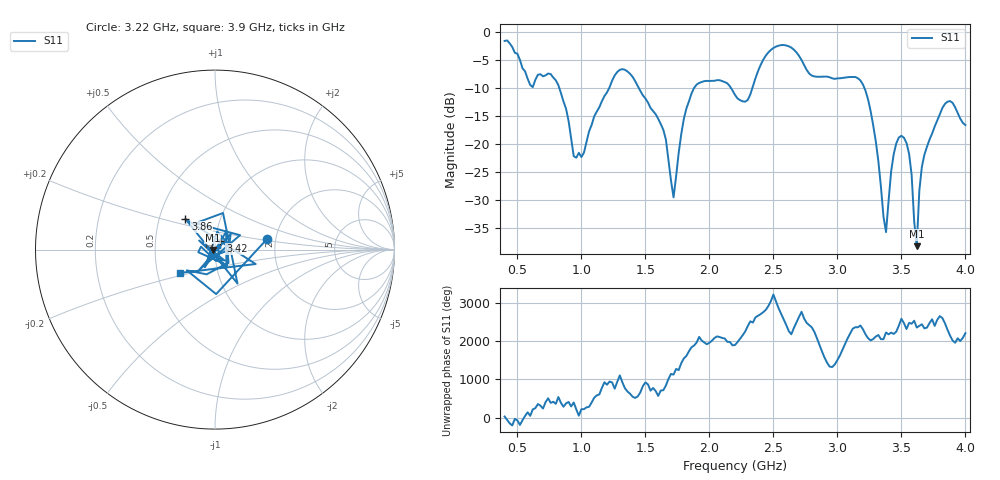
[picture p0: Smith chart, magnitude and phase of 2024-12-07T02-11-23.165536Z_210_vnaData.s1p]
!Created with skrf (http://scikit-rf.org).
# Hz S RI R 50.0
!freq ReS11 ImS11
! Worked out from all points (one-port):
!   181 points, 400 MHz to 4 GHz, reference 50 ohm
!   lowest |S11| = -38.3 dB at 3.62 GHz (marker M1), VSWR 1.02, Z = 48.8 - j0.204 ohm
!   |S11| at or under -10 dB: 826.7 MHz to 1.218 GHz (391.2 MHz wide, 38.3 % of centre); 1.447 GHz to 1.881 GHz (433.7 MHz wide, 26.1 % of centre); 3.21 GHz to end of sweep (the widest 3 of 4)
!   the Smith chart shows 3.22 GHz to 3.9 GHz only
!   S11 on the Smith chart (normalised r, x): 3.22 GHz: 1.80, +0.24; 3.42 GHz: 1.06, +0.10; 3.86 GHz: 0.68, +0.25; 3.9 GHz: 0.66, -0.18
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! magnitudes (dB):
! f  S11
! 400 MHz  -1.6
! 600 MHz  -9.5
! 760 MHz  -7.5
! 860 MHz  -12.5
! 940 MHz  -22.2
! 1 GHz  -22.4
! 1.3 GHz  -6.8
! 1.64 GHz  -17.5
! 1.72 GHz  -29.6
! 1.76 GHz  -21.6
! 1.9 GHz  -9.4
! 2.2 GHz  -11.3
! 2.3 GHz  -12.2
! 2.5 GHz  -2.9
! 2.66 GHz  -3.2
! 3.1 GHz  -8.1
! 3.22 GHz  -10.5
! 3.3 GHz  -19.6
! 3.38 GHz  -35.8
! 3.42 GHz  -24.9
! 3.48 GHz  -18.9
! 3.56 GHz  -21.8
! 3.62 GHz  -38.3
! 3.64 GHz  -28.4
! 3.68 GHz  -21.9
! 3.86 GHz  -12.5
! 3.9 GHz  -12.7
! 4 GHz  -16.6
